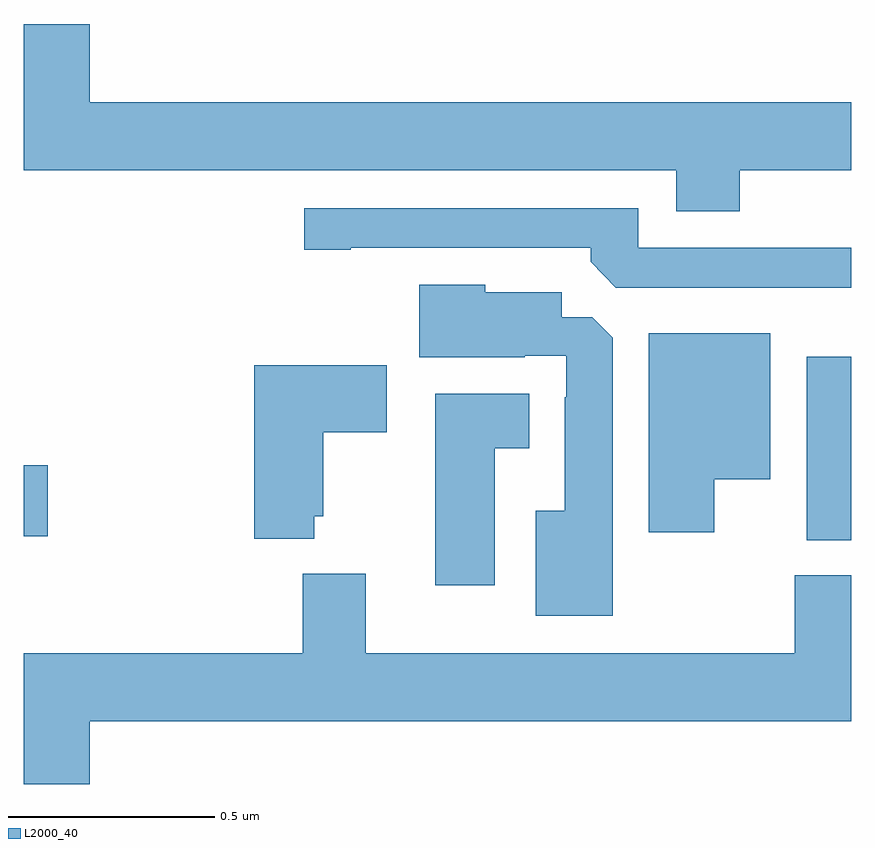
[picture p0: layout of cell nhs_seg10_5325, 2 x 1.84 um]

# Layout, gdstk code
import gdstk
lib = gdstk.Library(unit=1e-6, precision=1e-09)
def R(c, l, rs):  # rectangles x0, y0, x1, y1
    for r in rs: c.add(gdstk.rectangle(r[:2], r[2:], *l))
def P(c, l, *ps):  # polygons
    for p in ps: c.add(gdstk.Polygon(p, *l))
L2000_40 = (2000, 40)

nhs_seg10_5325 = lib.new_cell('nhs_seg10_5325')
R(nhs_seg10_5325, L2000_40, [(178.892,1298.089,179,1298.533), (177,1298.099,177.058,1298.27)])
P(nhs_seg10_5325, L2000_40, [(178.73,1298.984),(179,1298.984),(179,1299.148),(177.16,1299.148),(177.16,1299.337),(177,1299.337),(177,1298.984),(178.577,1298.984),(178.577,1298.885),(178.73,1298.885)],
  [(179,1298.796),(178.485,1298.796),(178.485,1298.892),(177.678,1298.892),(177.678,1298.791),(177.79,1298.791),(177.79,1298.796),(178.37,1298.796),(178.37,1298.762),(178.431,1298.7),(179,1298.7)],
  [(178.423,1298.579),(178.374,1298.628),(178.3,1298.628),(178.3,1298.689),(178.116,1298.689),(178.116,1298.707),(177.956,1298.707),(177.956,1298.531),(178.211,1298.531),(178.211,1298.535),(178.311,1298.535),(178.311,1298.435),(178.307,1298.435),(178.307,1298.161),(178.238,1298.161),(178.238,1297.907),(178.423,1297.907)],
  [(178.669,1298.237),(178.804,1298.237),(178.804,1298.59),(178.511,1298.59),(178.511,1298.109),(178.669,1298.109)],
  [(177.702,1298.147),(177.724,1298.147),(177.724,1298.35),(177.877,1298.35),(177.877,1298.512),(177.557,1298.512),(177.557,1298.093),(177.702,1298.093)],
  [(178.138,1298.312),(178.222,1298.312),(178.222,1298.443),(177.995,1298.443),(177.995,1297.98),(178.138,1297.98)],
  [(177.16,1297.652),(179,1297.652),(179,1298.004),(178.864,1298.004),(178.864,1297.816),(177.826,1297.816),(177.826,1298.008),(177.674,1298.008),(177.674,1297.816),(177,1297.816),(177,1297.5),(177.16,1297.5)])

lib.write_gds('nhs_seg10_5325.gds')
